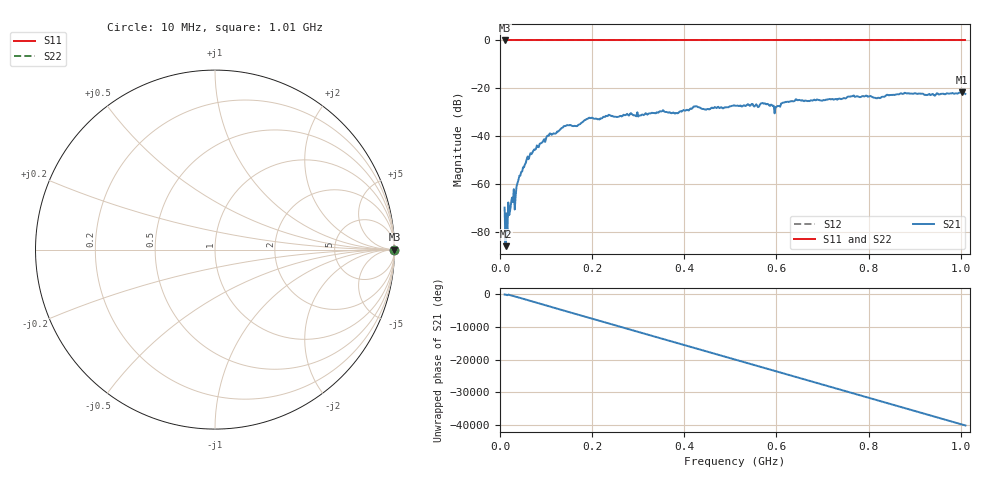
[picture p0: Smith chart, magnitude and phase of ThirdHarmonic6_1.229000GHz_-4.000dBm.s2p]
! 8/16/2025 12:57:22 PM
! C:\ANRITSUVNA\TEMP\TEMP.S2P
! CHANNEL.1
! TR.MEASUREMENT
! RAW.DATA
! RF.CORRECTION.OFF
! AVERAGING.OFF
! IF.BANDWIDTH: 5KHZ
! SWEEPTYPE:  FREQ.SWEEP(Linear)
! Reference Plane Port Info
! PORT:  PORT1  PORT2
! DISTANCE:  0  m  0  m
! TIME:  0  s  0  s
! PHASE.OFFSET:  0  deg.  0  deg.
! LOSS:  0  dB  0  dB
! REF.LOSS:  0  dB  0  dB
! REF.FREQ:  0  Hz  0  Hz
! Power Info
! POWER:  -20  dBm  -20  dBm
! EFF.POWER:  -20  dBm  -20  dBm
! SOURCE.ATTEN:  0  dB  0  dB
! TEST.ATTEN:  0  dB  0  dB
# GHZ S RI R 50.0
! FREQ.GHZ  S11RE  S11IM  S21RE  S21IM  S12RE  S12IM  S22RE  S22IM
!; PortSelection: Port_12
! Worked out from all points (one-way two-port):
!   501 points, 10 MHz to 1.01 GHz, reference 50 ohm
!   highest |S21| = -21.68 dB at 1.002 GHz (marker M1); lowest = -85.9 dB at 12 MHz (marker M2)
!   lowest |S11| = 0.0 dB at 10 MHz (marker M3)
!   |S11| at or under -10 dB: nowhere
!   |S22| runs from 0.0 to 0.0 dB; largest |S21 - S12| = 1.1
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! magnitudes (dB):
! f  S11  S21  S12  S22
! 10 MHz  0.0  -69.8  0.0  0.0
! 12 MHz  0.0  -85.9  0.0  0.0
! 16 MHz  0.0  -80.1  0.0  0.0
! 22 MHz  0.0  -70.9  0.0  0.0
! 32 MHz  0.0  -70.5  0.0  0.0
! 46 MHz  0.0  -55.0  0.0  0.0
! 70 MHz  0.0  -46.9  0.0  0.0
! 106 MHz  0.0  -39.7  0.0  0.0
! 142 MHz  0.0  -35.7  0.0  0.0
! 178 MHz  0.0  -34.2  0.0  0.0
! 196 MHz  0.0  -32.4  0.0  0.0
! 344 MHz  0.0  -30.1  0.0  0.0
! 382 MHz  0.0  -30.3  0.0  0.0
! 424 MHz  0.0  -27.5  0.0  0.0
! 510 MHz  0.0  -27.2  0.0  0.0
! 572 MHz  0.0  -26.3  0.0  0.0
! 600 MHz  0.0  -27.7  0.0  0.0
! 618 MHz  0.0  -25.8  0.0  0.0
! 678 MHz  0.0  -25.1  0.0  0.0
! 844 MHz  0.0  -22.9  0.0  0.0
! 1.002 GHz  0.0  -21.7  0.0  0.0
! 1.01 GHz  0.0  -22.3  0.0  0.0
